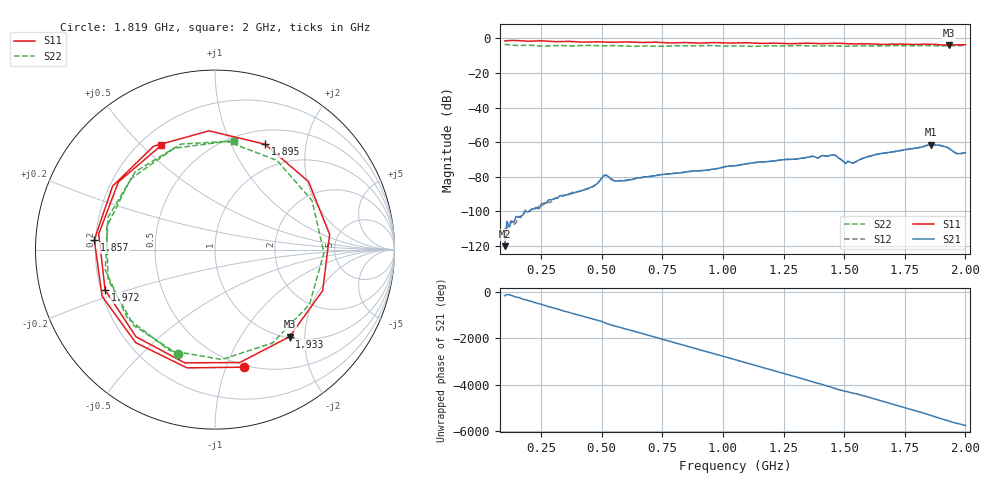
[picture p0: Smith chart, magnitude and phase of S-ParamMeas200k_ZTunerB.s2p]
!Keysight Technologies,N5242B,MY48420967,A.15.65.19
!Date: Monday, December 19, 2022 14:02:00
!Correction: S11(C  2-Port  )
!S21(C  2-Port  )
!S12(C  2-Port  )
!S22(C  2-Port  )
!S2P File: Measurements: S11, S21, S12, S22:
# Hz S  dB  R 50
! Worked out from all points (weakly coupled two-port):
!   201 points, 100 MHz to 2 GHz, reference 50 ohm
!   highest |S21| = -61.56 dB at 1.857 GHz (marker M1); lowest = -120.2 dB at 100 MHz (marker M2)
!   lowest |S11| = -3.9 dB at 1.933 GHz (marker M3), VSWR 4.54, Z = 51.3 - j84.1 ohm
!   |S11| at or under -10 dB: nowhere
!   |S22| runs from -4.6 to -3.4 dB; largest |S21 - S12| = 5.7e-06
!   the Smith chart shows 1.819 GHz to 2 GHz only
!   S11 on the Smith chart (normalised r, x): 1.819 GHz: 0.48, -1.16; 1.857 GHz: 0.19, +0.04; 1.895 GHz: 0.67, +1.36; 1.933 GHz: 1.03, -1.68; 1.972 GHz: 0.22, -0.17; 2 GHz: 0.28, +0.57
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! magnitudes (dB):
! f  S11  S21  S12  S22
! 100 MHz  -1.5  -120.2  -110.6  -3.4
! 423 MHz  -2.2  -87.8  -87.8  -4.1
! 518 MHz  -2.1  -79.1  -79.1  -4.3
! 537 MHz  -2.2  -81.1  -81.3  -4.2
! 689 MHz  -2.3  -80.0  -79.9  -4.4
! 736.5 MHz  -2.3  -78.9  -79.0  -4.6
! 1.05 GHz  -2.6  -73.7  -73.7  -4.4
! 1.373 GHz  -2.9  -68.2  -68.2  -4.4
! 1.392 GHz  -3.0  -69.3  -69.3  -4.4
! 1.411 GHz  -3.0  -67.8  -67.8  -4.3
! 1.458 GHz  -2.8  -67.3  -67.3  -4.4
! 1.506 GHz  -3.0  -72.3  -72.4  -4.6
! 1.516 GHz  -3.1  -71.1  -71.2  -4.6
! 1.534 GHz  -3.2  -72.1  -72.1  -4.5
! 1.591 GHz  -3.1  -68.7  -68.6  -4.3
! 1.687 GHz  -3.4  -66.0  -66.0  -4.2
! 1.819 GHz  -3.4  -62.9  -62.9  -4.2
! 1.857 GHz  -3.4  -61.6  -61.6  -4.2
! 1.895 GHz  -3.7  -61.9  -61.9  -4.4
! 1.933 GHz  -3.9  -63.7  -63.7  -4.2
! 1.972 GHz  -3.7  -66.7  -66.7  -4.1
! 2 GHz  -3.7  -66.1  -66.1  -4.2
